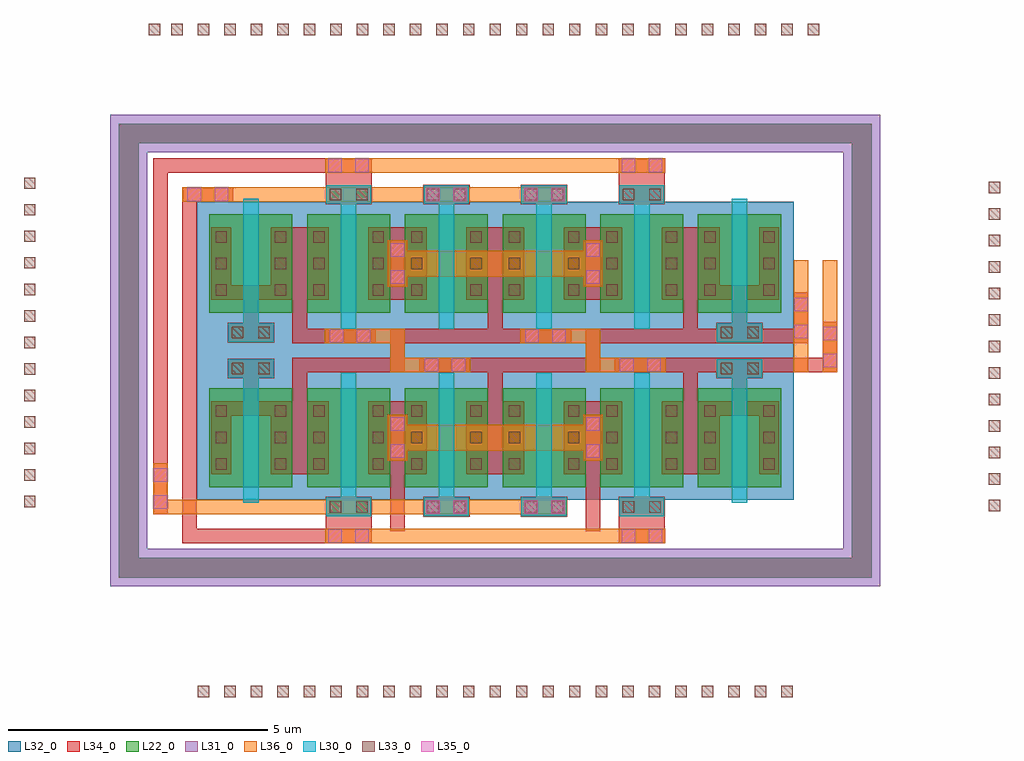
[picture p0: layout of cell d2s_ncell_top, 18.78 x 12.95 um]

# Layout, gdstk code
import gdstk
lib = gdstk.Library(unit=1e-6, precision=5e-09)
def R(c, l, rs):  # rectangles x0, y0, x1, y1
    for r in rs: c.add(gdstk.rectangle(r[:2], r[2:], *l))
def A(c, l, x, y, w, h, nx, ny, dx, dy):  # array of equal rectangles
    R(c, l, [(x+i*dx, y+j*dy, x+i*dx+w, y+j*dy+h) for i in range(nx) for j in range(ny)])
L22_0 = (22, 0)
L30_0 = (30, 0)
L31_0 = (31, 0)
L32_0 = (32, 0)
L33_0 = (33, 0)
L34_0 = (34, 0)
L35_0 = (35, 0)
L36_0 = (36, 0)

d2s_ncell_1_1 = lib.new_cell('d2s_ncell_1$1')
R(d2s_ncell_1_1, L22_0, [(0,0.3,0.46,2.2), (0.46,0.3,1.14,2.2), (1.14,0.3,1.6,2.2)])
R(d2s_ncell_1_1, L30_0, [(0.65,0,0.95,2.5)])
A(d2s_ncell_1_1, L33_0, 0.12, 0.63, 0.22, 0.22, 1, 3, 0, 0.51)
A(d2s_ncell_1_1, L33_0, 1.26, 0.63, 0.22, 0.22, 1, 3, 0, 0.51)
R(d2s_ncell_1_1, L34_0, [(0.04,0.55,0.42,1.95), (1.18,0.55,1.56,1.95)])

d2s_ncell_4 = lib.new_cell('d2s_ncell_4')
A(d2s_ncell_4, L30_0, 2.245, 2.4, 0.87, 0.36, 4, 1, 1.88, 0)
R(d2s_ncell_4, L30_0, [(0.365,-0.26,1.235,0.1), (9.765,-0.26,10.635,0.1)])
R(d2s_ncell_4, L33_0, [(0.435,-0.19,0.655,0.03), (0.945,-0.19,1.165,0.03), (9.835,-0.19,10.055,0.03), (10.345,-0.19,10.565,0.03), (2.315,2.47,2.535,2.69), (2.825,2.47,3.045,2.69), (4.195,2.47,4.415,2.69), (4.705,2.47,4.925,2.69), (6.075,2.47,6.295,2.69), (6.585,2.47,6.805,2.69), (7.955,2.47,8.175,2.69), (8.465,2.47,8.685,2.69)])
A(d2s_ncell_4, L34_0, 1.56, 0.55, 0.36, 1.4, 5, 1, 1.88, 0)
R(d2s_ncell_4, L34_0, [(0.355,-0.27,1.245,0.11), (9.755,-0.27,10.645,0.11), (2.235,2.39,3.125,3.28), (4.115,2.39,5.005,2.77), (5.995,2.39,6.885,2.77), (7.875,2.39,8.765,3.28)])
R(d2s_ncell_4, L35_0, [(3.49,0.86,3.75,1.12), (7.25,0.86,7.51,1.12), (3.49,1.38,3.75,1.64), (7.25,1.38,7.51,1.64), (4.17,2.45,4.43,2.71), (4.69,2.45,4.95,2.71), (6.055,2.45,6.315,2.71), (6.575,2.45,6.835,2.71), (2.29,3.01,2.55,3.27), (2.81,3.01,3.07,3.27), (7.93,3.01,8.19,3.27), (8.45,3.01,8.71,3.27)])
R(d2s_ncell_4, L36_0, [(3.43,0.805,3.81,1.695), (7.19,0.805,7.57,1.695)])
d2s_ncell_4.add(gdstk.FlexPath([(0.8,0.11),(0.8,0.55)], 0.28, ends="flush", simple_path=True, layer=34, datatype=0))  # L34_0
d2s_ncell_4.add(gdstk.FlexPath([(0.42,0.69),(1.18,0.69)], 0.28, ends="flush", simple_path=True, layer=34, datatype=0))  # L34_0
d2s_ncell_4.add(gdstk.FlexPath([(9.82,0.69),(10.58,0.69)], 0.28, ends="flush", simple_path=True, layer=34, datatype=0))  # L34_0
d2s_ncell_4.add(gdstk.FlexPath([(10.2,0.11),(10.2,0.55)], 0.28, ends="flush", simple_path=True, layer=34, datatype=0))  # L34_0
d2s_ncell_4.add(gdstk.FlexPath([(3.81,1.25),(7.19,1.25)], 0.5, ends="flush", simple_path=True, layer=36, datatype=0))  # L36_0
d2s_ncell_4.add(gdstk.FlexPath([(6.89,2.58),(4.11,2.58)], 0.28, ends="flush", simple_path=True, layer=36, datatype=0))  # L36_0
d2s_ncell_4.add(gdstk.FlexPath([(8.77,3.14),(2.23,3.14)], 0.28, ends="flush", simple_path=True, layer=36, datatype=0))  # L36_0
d2s_ncell_4.add(gdstk.Reference(d2s_ncell_1_1, (0,0)))
d2s_ncell_4.add(gdstk.Reference(d2s_ncell_1_1, (1.88,0)))
d2s_ncell_4.add(gdstk.Reference(d2s_ncell_1_1, (3.76,0)))
d2s_ncell_4.add(gdstk.Reference(d2s_ncell_1_1, (5.64,0)))
d2s_ncell_4.add(gdstk.Reference(d2s_ncell_1_1, (7.52,0)))
d2s_ncell_4.add(gdstk.Reference(d2s_ncell_1_1, (9.4,0)))

d2s_ncell_top = lib.new_cell('d2s_ncell_top')
R(d2s_ncell_top, L32_0, [(1.11,1.16,12.59,6.89)])
A(d2s_ncell_top, L33_0, 1.13, -2.64, 0.22, 0.22, 23, 1, 0.51, 0)
A(d2s_ncell_top, L33_0, 16.34, 0.935, 0.22, 0.22, 1, 13, 0, 0.51)
A(d2s_ncell_top, L33_0, -2.215, 1.015, 0.22, 0.22, 1, 13, 0, 0.51)
A(d2s_ncell_top, L33_0, 0.62, 10.09, 0.22, 0.22, 25, 1, 0.51, 0)
R(d2s_ncell_top, L33_0, [(0.185,10.09,0.405,10.31)])
R(d2s_ncell_top, L35_0, [(0.28,0.98,0.54,1.24), (0.28,1.5,0.54,1.76), (5.49,3.615,5.75,3.875), (6.01,3.615,6.27,3.875), (9.25,3.615,9.51,3.875), (9.77,3.615,10.03,3.875), (13.16,3.705,13.42,3.965), (3.67,4.175,3.93,4.435), (4.19,4.175,4.45,4.435), (7.43,4.175,7.69,4.435), (7.95,4.175,8.21,4.435), (13.16,4.225,13.42,4.485), (12.6,4.265,12.86,4.525), (12.6,4.785,12.86,5.045), (0.93,6.9,1.19,7.16), (1.45,6.9,1.71,7.16)])
d2s_ncell_top.add(gdstk.FlexPath([(0.97,7.17),(0.97,0.6)], 0.28, ends="flush", simple_path=True, layer=34, datatype=0))  # L34_0
d2s_ncell_top.add(gdstk.FlexPath([(0.41,7.725),(0.41,0.88)], 0.28, ends="flush", simple_path=True, layer=34, datatype=0))  # L34_0
d2s_ncell_top.add(gdstk.FlexPath([(12.73,5.145),(12.73,4.165)], 0.28, ends="flush", simple_path=True, layer=34, datatype=0))  # L34_0
d2s_ncell_top.add(gdstk.FlexPath([(10.75,3.745),(13.15,3.745)], 0.28, ends="flush", simple_path=True, layer=34, datatype=0))  # L34_0
d2s_ncell_top.add(gdstk.FlexPath([(13.29,4.585),(13.29,3.605)], 0.28, ends="flush", simple_path=True, layer=34, datatype=0))  # L34_0
d2s_ncell_top.add(gdstk.FlexPath([(1.81,7.03),(0.83,7.03)], 0.28, ends="flush", simple_path=True, layer=34, datatype=0))  # L34_0
d2s_ncell_top.add(gdstk.FlexPath([(3.585,7.59),(0.55,7.59)], 0.28, ends="flush", simple_path=True, layer=34, datatype=0))  # L34_0
d2s_ncell_top.add(gdstk.FlexPath([(3.585,0.46),(0.83,0.46)], 0.28, ends="flush", simple_path=True, layer=34, datatype=0))  # L34_0
d2s_ncell_top.add(gdstk.FlexPath([(13.9,8.39),(13.9,-0.15),(-0.2,-0.15),(-0.2,8.2),(13.71,8.2)], 0.38, ends="flush", simple_path=True, layer=34, datatype=0))  # L34_0
d2s_ncell_top.add(gdstk.FlexPath([(10.61,5),(10.61,4.445)], 0.28, ends="flush", simple_path=True, layer=34, datatype=0))  # L34_0
d2s_ncell_top.add(gdstk.FlexPath([(6.85,5),(6.85,4.445)], 0.28, ends="flush", simple_path=True, layer=34, datatype=0))  # L34_0
d2s_ncell_top.add(gdstk.FlexPath([(3.09,5),(3.09,4.445)], 0.28, ends="flush", simple_path=True, layer=34, datatype=0))  # L34_0
d2s_ncell_top.add(gdstk.FlexPath([(6.37,4.305),(4.97,4.305),(4.97,3.745),(3.57,3.745)], 0.28, ends="flush", simple_path=True, layer=34, datatype=0))  # L34_0
d2s_ncell_top.add(gdstk.FlexPath([(4.55,4.305),(3.57,4.305)], 0.28, ends="flush", simple_path=True, layer=34, datatype=0))  # L34_0
d2s_ncell_top.add(gdstk.FlexPath([(6.37,3.745),(5.39,3.745)], 0.28, ends="flush", simple_path=True, layer=34, datatype=0))  # L34_0
d2s_ncell_top.add(gdstk.FlexPath([(6.37,4.305),(7.33,4.305)], 0.28, ends="flush", simple_path=True, layer=34, datatype=0))  # L34_0
d2s_ncell_top.add(gdstk.FlexPath([(6.37,3.745),(7.33,3.745)], 0.28, ends="flush", simple_path=True, layer=34, datatype=0))  # L34_0
d2s_ncell_top.add(gdstk.FlexPath([(3.57,4.305),(2.95,4.305)], 0.28, ends="flush", simple_path=True, layer=34, datatype=0))  # L34_0
d2s_ncell_top.add(gdstk.FlexPath([(3.57,3.745),(2.95,3.745)], 0.28, ends="flush", simple_path=True, layer=34, datatype=0))  # L34_0
d2s_ncell_top.add(gdstk.FlexPath([(6.85,5),(6.85,4.445)], 0.28, ends="flush", simple_path=True, layer=34, datatype=0))  # L34_0
d2s_ncell_top.add(gdstk.FlexPath([(10.13,4.305),(8.73,4.305),(8.73,3.745),(7.33,3.745)], 0.28, ends="flush", simple_path=True, layer=34, datatype=0))  # L34_0
d2s_ncell_top.add(gdstk.FlexPath([(8.31,4.305),(7.33,4.305)], 0.28, ends="flush", simple_path=True, layer=34, datatype=0))  # L34_0
d2s_ncell_top.add(gdstk.FlexPath([(10.13,3.745),(9.15,3.745)], 0.28, ends="flush", simple_path=True, layer=34, datatype=0))  # L34_0
d2s_ncell_top.add(gdstk.FlexPath([(10.75,4.305),(10.13,4.305)], 0.28, ends="flush", simple_path=True, layer=34, datatype=0))  # L34_0
d2s_ncell_top.add(gdstk.FlexPath([(10.75,3.745),(10.13,3.745)], 0.28, ends="flush", simple_path=True, layer=34, datatype=0))  # L34_0
d2s_ncell_top.add(gdstk.FlexPath([(10.61,3.605),(10.61,3.05)], 0.28, ends="flush", simple_path=True, layer=34, datatype=0))  # L34_0
d2s_ncell_top.add(gdstk.FlexPath([(6.85,3.605),(6.85,3.05)], 0.28, ends="flush", simple_path=True, layer=34, datatype=0))  # L34_0
d2s_ncell_top.add(gdstk.FlexPath([(3.09,3.605),(3.09,3.05)], 0.28, ends="flush", simple_path=True, layer=34, datatype=0))  # L34_0
d2s_ncell_top.add(gdstk.FlexPath([(6.85,3.605),(6.85,3.05)], 0.28, ends="flush", simple_path=True, layer=34, datatype=0))  # L34_0
d2s_ncell_top.add(gdstk.FlexPath([(10.75,4.305),(12.59,4.305)], 0.28, ends="flush", simple_path=True, layer=34, datatype=0))  # L34_0
d2s_ncell_top.add(gdstk.FlexPath([(8.73,0.55),(8.73,1.65)], 0.28, ends="flush", simple_path=True, layer=34, datatype=0))  # L34_0
d2s_ncell_top.add(gdstk.FlexPath([(4.97,0.55),(4.97,1.65)], 0.28, ends="flush", simple_path=True, layer=34, datatype=0))  # L34_0
d2s_ncell_top.add(gdstk.FlexPath([(13.9,8.39),(13.9,-0.15),(-0.2,-0.15),(-0.2,8.2),(13.71,8.2)], 0.38, ends="flush", simple_path=True, layer=22, datatype=0))  # L22_0
d2s_ncell_top.add(gdstk.FlexPath([(13.29,5.76),(13.29,3.605)], 0.28, ends="flush", simple_path=True, layer=36, datatype=0))  # L36_0
d2s_ncell_top.add(gdstk.FlexPath([(12.73,5.145),(12.73,4.165)], 0.28, ends="flush", simple_path=True, layer=36, datatype=0))  # L36_0
d2s_ncell_top.add(gdstk.FlexPath([(13.29,4.585),(13.29,3.605)], 0.28, ends="flush", simple_path=True, layer=36, datatype=0))  # L36_0
d2s_ncell_top.add(gdstk.FlexPath([(12.73,5.76),(12.73,3.605)], 0.28, ends="flush", simple_path=True, layer=36, datatype=0))  # L36_0
d2s_ncell_top.add(gdstk.FlexPath([(5.46,7.03),(0.83,7.03)], 0.28, ends="flush", simple_path=True, layer=36, datatype=0))  # L36_0
d2s_ncell_top.add(gdstk.FlexPath([(5.46,1.02),(0.55,1.02)], 0.28, ends="flush", simple_path=True, layer=36, datatype=0))  # L36_0
d2s_ncell_top.add(gdstk.FlexPath([(0.41,0.88),(0.41,1.86)], 0.28, ends="flush", simple_path=True, layer=36, datatype=0))  # L36_0
d2s_ncell_top.add(gdstk.FlexPath([(10.13,3.745),(8.73,3.745),(8.73,4.305),(7.33,4.305)], 0.28, ends="flush", simple_path=True, layer=36, datatype=0))  # L36_0
d2s_ncell_top.add(gdstk.FlexPath([(6.37,3.745),(4.97,3.745),(4.97,4.305),(3.57,4.305)], 0.28, ends="flush", simple_path=True, layer=36, datatype=0))  # L36_0
d2s_ncell_top.add(gdstk.FlexPath([(13.9,8.56),(13.9,-0.15),(-0.2,-0.15),(-0.2,8.2),(13.7,8.2)], 0.72, ends="flush", simple_path=True, layer=31, datatype=0))  # L31_0
d2s_ncell_top.add(gdstk.Reference(d2s_ncell_4, (1.35,4.45)))
d2s_ncell_top.add(gdstk.Reference(d2s_ncell_4, (1.35,3.6), x_reflection=True))

lib.write_gds('d2s_ncell_top.gds')
